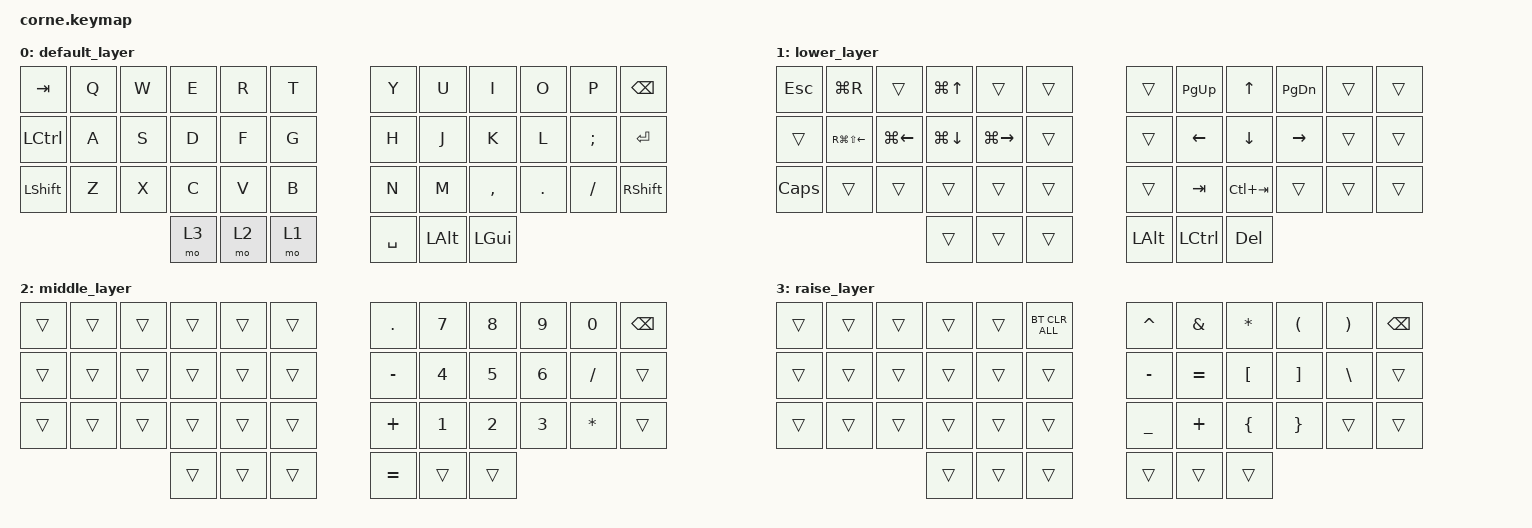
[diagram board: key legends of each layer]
/*
 * Copyright (c) 2020 The ZMK Contributors
 *
 * SPDX-License-Identifier: MIT
 */

#include <behaviors.dtsi>
#include <dt-bindings/zmk/keys.h>
#include <dt-bindings/zmk/bt.h>
#define DEFAULT 0
#define LOWER   1
#define MIDDLE  2
#define RAISE   3

/ {
        keymap {
                compatible = "zmk,keymap";

                default_layer {
// -----------------------------------------------------------------------------------------
// |  TAB |  Q  |  W  |  E  |  R  |  T  |   |  Y  |  U   |  I  |  O  |  P  | BSPC |
// | CTRL |  A  |  S  |  D  |  F  |  G  |   |  H  |  J   |  K  |  L  |  ;  |  '   |
// | SHFT |  Z  |  X  |  C  |  V  |  B  |   |  N  |  M   |  ,  |  .  |  /  | ENT  |
//                   | RSE | MDDL | LWR |   | SPC | ALT  | CMD |
                        bindings = <
   &kp TAB   &kp Q &kp W &kp E &kp R &kp T   &kp Y &kp U  &kp I     &kp O   &kp P    &kp BSPC
   &kp LCTRL &kp A &kp S &kp D &kp F &kp G   &kp H &kp J  &kp K     &kp L   &kp SEMI &kp ENTER
   &kp LSHFT &kp Z &kp X &kp C &kp V &kp B   &kp N &kp M  &kp COMMA &kp DOT &kp FSLH &kp RSHIFT
                      &mo 3 &mo 2 &mo 1   &kp SPACE &kp LALT &kp LEFT_GUI
                        >;
                };
                lower_layer {
// -----------------------------------------------------------------------------------------
// |  ESC |Apple|     |SNPU |     |     |   |     | PGUP|  UP |PGDN |     |      |
// |      | GUL |SPL  |SNPD |SNPR |     |   |     |LEFT | DWN | RIT |     |      |
// | CAP  |     |     |     |     |     |   |     | TAB |     |     |     |      |
//                    |     |     |     |   | CTL | ALT | DEL |
                 bindings = <
   &kp ESC &kp LG(R)   &trans &kp LG(UP)   &trans   &trans              &trans  &kp PG_UP   &kp UP &kp PG_DN   &trans  &trans
   &trans  &kp RG(LS(LEFT))   &kp LG(LEFT) &kp LG(DOWN)  &kp LG(RIGHT) &trans    &trans  &kp LEFT   &kp DOWN &kp RIGHT  &trans   &trans
   &kp CAPS  &trans &trans &trans   &trans   &trans                 &trans  &kp TAB &kp LC(TAB) &trans   &trans    &trans
                             &trans &trans   &trans       &kp LALT &kp LCTRL  &kp DEL
                        >;
                };

                middle_layer {
// -----------------------------------------------------------------------------------------
// |      |     |     |     |     |     | . |  7  |  8  |  9  |  0  |     | BSPC |
// |      |     |     |     |     |     | - |  4  |  5  |  6  |  /  |     |      |
// |      |     |     |     |     |     | + |  1  |  2  |  3  |  *  |     |      |
//                    |     |     |     | = |     |     |     |
                        bindings = <
   &trans &trans  &trans &trans  &trans  &trans     &kp DOT &kp N7 &kp N8  &kp N9 &kp N0 &kp BSPC
   &trans &trans  &trans &trans  &trans  &trans     &kp MINUS  &kp N4 &kp N5  &kp N6 &kp FSLH &trans
   &trans &trans  &trans &trans  &trans  &trans     &kp PLUS &kp N1 &kp N2  &kp N3 &kp ASTRK  &trans
                         &trans    &trans  &trans     &kp EQUAL   &trans    &trans
                        >;
                };

                raise_layer {
// -----------------------------------------------------------------------------------------
// |      |     |     |     |     |reset|   |  ^  |  &  |  *  |  (  |  )  | BSPC |
// |      |     |     |     |     |     |   |  -  |  =  |  [  |  ]  |  \  |  "   |
// |      |     |     |     |     |     |   |  _  |  +  |  {  |  }  |     |      |
//                    |     |     |     |   |     |     |     |
                        bindings = <
   &trans &trans   &trans &trans  &trans  &bt BT_CLR_ALL     &kp CARET &kp AMPS  &kp ASTRK &kp LPAR &kp RPAR &kp BSPC
   &trans &trans   &trans &trans  &trans   &trans     &kp MINUS &kp EQUAL &kp LBKT  &kp RBKT &kp BSLH &trans
   &trans &trans   &trans &trans  &trans   &trans     &kp UNDER &kp PLUS  &kp LBRC  &kp RBRC &trans   &trans
                         &trans    &trans  &trans      &trans   &trans    &trans
                        >;
                  };
            };
      };
